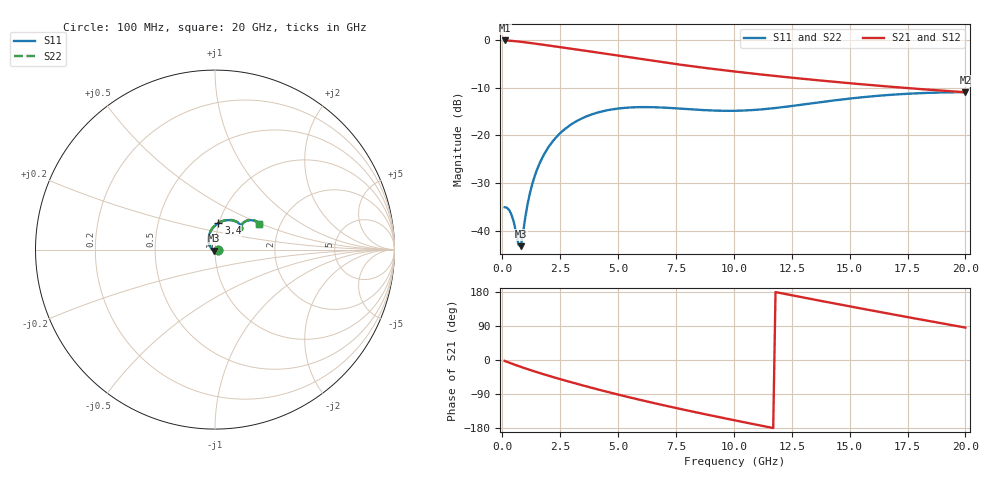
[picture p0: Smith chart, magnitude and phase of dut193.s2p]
! Touchstone file exported from HFSS 2023.1.0
!  File:  D:/Users/fzz/RDL_TSV/temp_RDL_TSV_193_1778755737.aedt
!  Generated:  6:58:14 %x4E0B%x5348  5%x6708 14, 2026
!  Design:  RDL_TSV
!  Project:  temp_RDL_TSV_193_1778755737
!  Setup:  Setup1
!  Solution:  Sweep
! Variables:
!  dtsv = 20.67um
!  hbump = 3um
!  htsv = 50.2um
!  ldown = 579.75um
!  lrdl = 586.86um
!  p = 40
!  p1 = 47.6um
!  rhole = 10um
!  subl = 4086.69um
!  t = 450um
!  tdown = 3.62um
!  trdl = 3.95um
!  viad = 10um
!  wdown = 17.8um
!  wrdl = 25.66um
!  xbump = 18um
# GHz S MA R 50.000000
! Terminal data exported
! Port[1] = TM1_1_T1
! Port[2] = TM1_4_T1
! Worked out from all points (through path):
!   200 points, 100 MHz to 20 GHz, reference 50 ohm
!   highest |S21| = -0.16 dB at 100 MHz (marker M1); lowest = -11.0 dB at 20 GHz (marker M2)
!   group delay of S21, straight-line fit = 36.5 ps
!   lowest |S11| = -43.1 dB at 800 MHz (marker M3), VSWR 1.01, Z = 49.6 - j0.542 ohm
!   |S11| at or under -10 dB: start of sweep to end of sweep
!   |S22| runs from -43.1 to -10.9 dB; largest |S21 - S12| = 2.1e-14
!   S11 on the Smith chart (normalised r, x): 100 MHz: 1.04, -0.00; 3.4 GHz: 0.99, +0.30; 20 GHz: 1.56, +0.48
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0.1  0.01779 -3.7  0.9812 -2.4  0.9812 -2.4  0.01779 -3.7
! Gamma 0 0 0 0
! Port Impedance 50 0 50 0
0.3  0.01663 -17.0  0.9753 -7.1  0.9753 -7.1  0.01662 -17.0
0.4  0.01483 -26.4  0.9714 -9.3  0.9714 -9.3  0.01481 -26.4
0.5  0.01237 -38.3  0.9669 -11.6  0.9669 -11.6  0.01234 -38.4
0.7  0.007198 -84.8  0.9564 -16.0  0.9564 -16.0  0.007167 -85.3
0.8  0.006982 -128.5  0.9505 -18.1  0.9505 -18.1  0.007003 -129.2
1  0.01432 176.8  0.9378 -22.3  0.9378 -22.3  0.01444 176.6
1.2  0.02539 155.8  0.9243 -26.3  0.9243 -26.3  0.02558 155.7
1.4  0.03764 143.0  0.9104 -30.3  0.9104 -30.3  0.03788 143.0
1.7  0.05676 129.0  0.8895 -36.0  0.8895 -36.0  0.0571 129.1
2  0.07579 118.0  0.8689 -41.5  0.8689 -41.5  0.07623 118.1
2.4  0.09988 105.9  0.8421 -48.7  0.8421 -48.7  0.1005 106.0
3.4  0.1492 82.6  0.7778 -65.8  0.7778 -65.8  0.1501 82.7
3.5  0.1531 80.6  0.7715 -67.5  0.7715 -67.5  0.1541 80.8
4.9  0.1895 58.7  0.687 -89.7  0.687 -89.7  0.1909 58.9
6.8  0.1961 41.3  0.5874 -117.2  0.5874 -117.2  0.1978 41.5
8.4  0.1857 36.3  0.5201 -138.5  0.5201 -138.5  0.1876 36.4
10.1  0.181 38.2  0.4631 -160.0  0.4631 -160.0  0.1829 38.3
11.6  0.1912 41.8  0.4223 -178.3  0.4223 -178.3  0.193 41.8
13.4  0.2169 43.4  0.3815 160.2  0.3815 160.2  0.2188 43.5
16.7  0.2649 38.0  0.3237 122.2  0.3237 122.2  0.267 38.1
20  0.2832 29.8  0.2827 85.6  0.2827 85.6  0.2855 30.0
